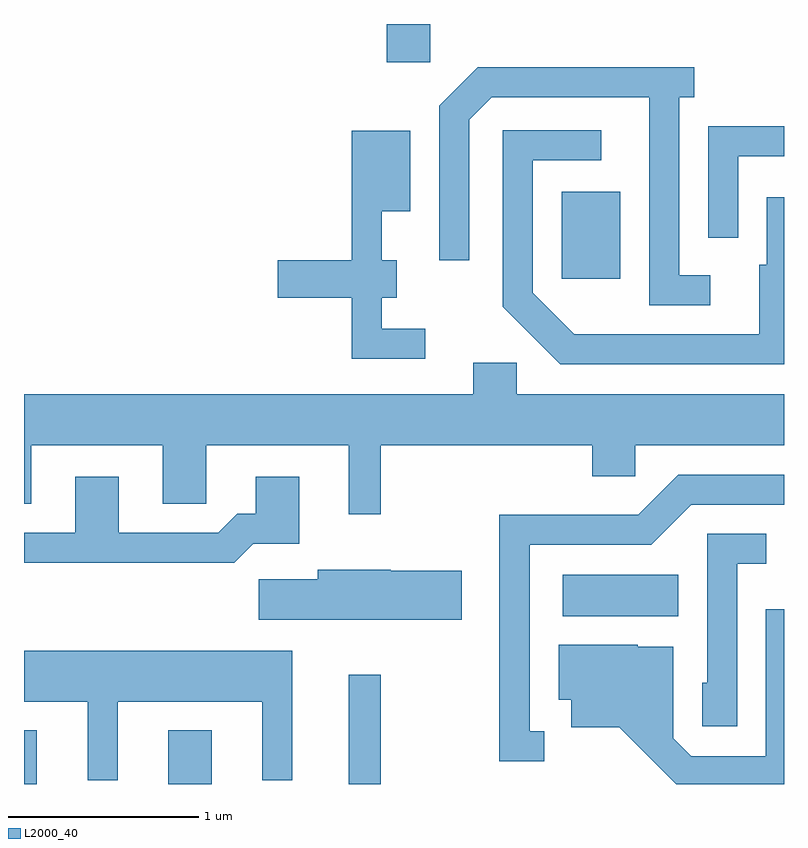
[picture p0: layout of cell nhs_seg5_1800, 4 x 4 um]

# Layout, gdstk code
import gdstk
lib = gdstk.Library(unit=1e-6, precision=1e-09)
def R(c, l, rs):  # rectangles x0, y0, x1, y1
    for r in rs: c.add(gdstk.rectangle(r[:2], r[2:], *l))
def P(c, l, *ps):  # polygons
    for p in ps: c.add(gdstk.Polygon(p, *l))
L2000_40 = (2000, 40)

nhs_seg5_1800 = lib.new_cell('nhs_seg5_1800')
R(nhs_seg5_1800, L2000_40, [(237.611,1506.072,237.679,1506.354), (238.371,1506.072,238.599,1506.354), (239.321,1506.072,239.489,1506.648), (240.446,1506.956,241.054,1507.174), (240.441,1508.731,240.749,1509.189), (239.521,1509.871,239.749,1510.072)])
P(nhs_seg5_1800, L2000_40, [(241.223,1508.749),(241.059,1508.749),(241.059,1509.686),(241.138,1509.686),(241.138,1509.844),(239.999,1509.844),(239.796,1509.642),(239.796,1508.828),(239.954,1508.828),(239.954,1509.569),(240.072,1509.686),(240.901,1509.686),(240.901,1508.591),(241.223,1508.591)],
  [(241.369,1509.376),(241.611,1509.376),(241.611,1509.534),(241.211,1509.534),(241.211,1508.948),(241.369,1508.948)],
  [(241.611,1509.159),(241.521,1509.159),(241.521,1508.804),(241.481,1508.804),(241.481,1508.439),(240.507,1508.439),(240.289,1508.657),(240.289,1509.356),(240.648,1509.356),(240.648,1509.514),(240.131,1509.514),(240.131,1508.584),(240.434,1508.281),(241.611,1508.281)],
  [(239.723,1508.469),(239.494,1508.469),(239.494,1508.631),(239.574,1508.631),(239.574,1508.829),(239.494,1508.829),(239.494,1509.086),(239.644,1509.086),(239.644,1509.509),(239.336,1509.509),(239.336,1508.829),(238.946,1508.829),(238.946,1508.631),(239.336,1508.631),(239.336,1508.311),(239.723,1508.311)],
  [(239.489,1507.856),(240.601,1507.856),(240.601,1507.691),(240.829,1507.691),(240.829,1507.856),(241.611,1507.856),(241.611,1508.124),(240.204,1508.124),(240.204,1508.289),(239.976,1508.289),(239.976,1508.124),(237.611,1508.124),(237.611,1507.546),(237.649,1507.546),(237.649,1507.856),(238.341,1507.856),(238.341,1507.546),(238.569,1507.546),(238.569,1507.856),(239.321,1507.856),(239.321,1507.493),(239.489,1507.493)],
  [(240.348,1506.349),(240.274,1506.349),(240.274,1507.331),(240.912,1507.331),(241.122,1507.541),(241.611,1507.541),(241.611,1507.699),(241.054,1507.699),(240.844,1507.489),(240.111,1507.489),(240.111,1506.191),(240.348,1506.191)],
  [(238.817,1507.336),(239.059,1507.336),(239.059,1507.689),(238.831,1507.689),(238.831,1507.494),(238.734,1507.494),(238.634,1507.394),(238.109,1507.394),(238.109,1507.689),(237.881,1507.689),(237.881,1507.394),(237.611,1507.394),(237.611,1507.236),(238.717,1507.236)],
  [(241.364,1507.231),(241.518,1507.231),(241.518,1507.389),(241.206,1507.389),(241.206,1506.604),(241.181,1506.604),(241.181,1506.376),(241.364,1506.376)],
  [(239.914,1507.194),(239.54,1507.194),(239.54,1507.199),(239.156,1507.199),(239.156,1507.149),(238.846,1507.149),(238.846,1506.936),(239.914,1506.936)],
  [(241.611,1506.993),(241.516,1506.993),(241.516,1506.219),(241.122,1506.219),(241.029,1506.312),(241.029,1506.794),(240.84,1506.794),(240.84,1506.804),(240.426,1506.804),(240.426,1506.516),(240.491,1506.516),(240.491,1506.371),(240.744,1506.371),(241.043,1506.072),(241.611,1506.072)],
  [(238.104,1506.506),(238.866,1506.506),(238.866,1506.093),(239.024,1506.093),(239.024,1506.774),(237.611,1506.774),(237.611,1506.506),(237.946,1506.506),(237.946,1506.093),(238.104,1506.093)])

lib.write_gds('nhs_seg5_1800.gds')
